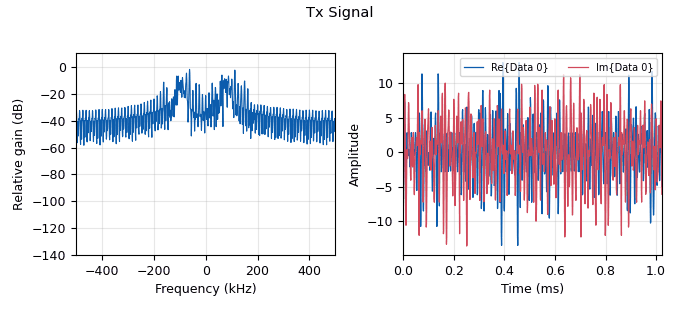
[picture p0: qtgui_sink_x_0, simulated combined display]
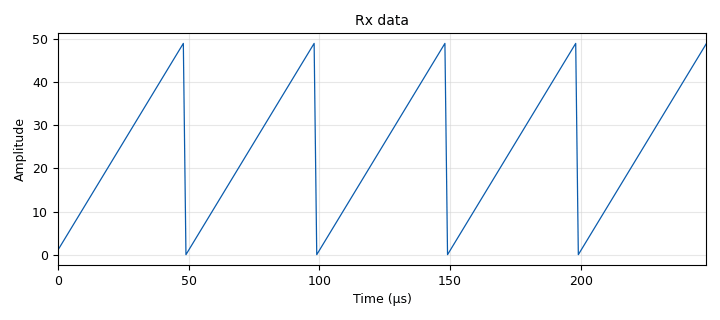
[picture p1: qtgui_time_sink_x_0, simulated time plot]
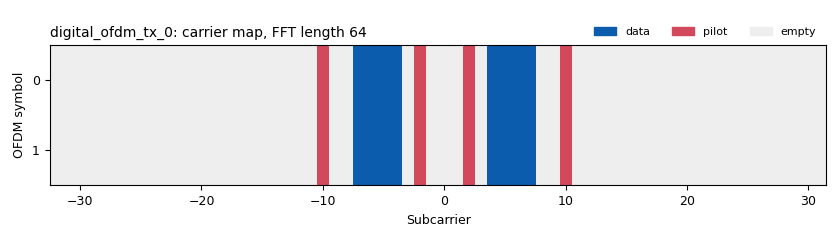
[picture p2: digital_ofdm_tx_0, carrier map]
options:
  parameters:
    author: ucanlab
    category: Custom
    description: Repeatedly transmit a pre-defined signal as OFDM packets.
    generate_options: qt_gui
    id: ofdm_loopback_sim
    output_language: python
    title: OFDM Loopback - Simulation
  states: {}

blocks:
- name: fft_len
  id: variable
  parameters:
    value: '64'
  states: {}
- name: freq_offset
  id: variable_qtgui_range
  parameters:
    gui_hint: 0,1,1,1
    label: 'SIM ONLY: Frequency Offset (Multiples of Sub-carrier spacing)'
    orient: Qt.Horizontal
    start: '-3'
    step: '.01'
    stop: '3'
    value: '0'
  states: {}
- name: len_tag_key
  id: variable
  parameters:
    value: '"packet_len"'
  states: {}
- name: noise_voltage
  id: variable_qtgui_range
  parameters:
    gui_hint: 0,0,1,1
    label: 'SIM ONLY: Noise Amplitude'
    orient: Qt.Horizontal
    start: '0'
    step: '.01'
    stop: '1'
    value: '0.02'
  states: {}
- name: occupied_carriers
  id: variable
  parameters:
    value: ((-7,-6,-5,-4,4,5,6,7),)
  states: {}
- name: packet_len
  id: variable
  parameters:
    value: '25'
  states: {}
- name: pilot_carriers
  id: variable
  parameters:
    value: ((-10,-2,2,10),)
  states: {}
- name: pilot_syms
  id: variable
  parameters:
    value: ((-1,1,-1,1),)
  states: {}
- name: samp_rate
  id: variable
  parameters:
    value: '1000000'
  states: {}
- name: blocks_stream_to_tagged_stream_0
  id: blocks_stream_to_tagged_stream
  parameters:
    len_tag_key: len_tag_key
    packet_len: packet_len
    type: byte
  states: {}
- name: blocks_tag_debug_0
  id: blocks_tag_debug
  parameters:
    display: 'False'
    name: Rx Packets
    type: byte
  states: {}
- name: blocks_throttle_0
  id: blocks_throttle
  parameters:
    samples_per_second: samp_rate
    type: complex
  states: {}
- name: blocks_uchar_to_float_0
  id: blocks_uchar_to_float
  parameters: {}
  states: {}
- name: blocks_vector_source_x_0
  id: blocks_vector_source_x
  parameters:
    repeat: 'True'
    tags: ()
    type: byte
    vector: range(2*packet_len)
  states: {}
- name: channels_channel_model_0
  id: channels_channel_model
  parameters:
    block_tags: 'True'
    epsilon: '1.0'
    freq_offset: freq_offset * 1.0/fft_len
    noise_voltage: noise_voltage
    seed: '0'
    taps: 1.0 + 1.0j
  states: {}
- name: digital_ofdm_rx_0
  id: digital_ofdm_rx
  parameters:
    cp_len: fft_len//4
    fft_len: fft_len
    header_mod: '"BPSK"'
    occupied_carriers: occupied_carriers
    packet_len_key: '"rx_len"'
    payload_mod: '"QPSK"'
    pilot_carriers: pilot_carriers
    pilot_symbols: ((-1,1,-1,1),)
    sync_word1: None
    sync_word2: None
  states: {}
- name: digital_ofdm_tx_0
  id: digital_ofdm_tx
  parameters:
    cp_len: fft_len//4
    fft_len: fft_len
    header_mod: '"BPSK"'
    occupied_carriers: occupied_carriers
    packet_len_key: len_tag_key
    payload_mod: '"QPSK"'
    pilot_carriers: pilot_carriers
    pilot_symbols: pilot_syms
    rolloff: '0'
    sync_word1: None
    sync_word2: None
  states: {}
- name: note_0_1
  id: note
  parameters:
    note: OFDM Params
  states: {}
- name: qtgui_sink_x_0
  id: qtgui_sink_x
  parameters:
    bw: samp_rate
    fc: '0'
    fftsize: '1024'
    gui_hint: 1,0,1,1
    name: '"Tx Signal"'
    plotconst: 'False'
    showrf: 'True'
    type: complex
    wintype: firdes.WIN_BLACKMAN_hARRIS
  states: {}
- name: qtgui_time_sink_x_0
  id: qtgui_time_sink_x
  parameters:
    autoscale: 'True'
    gui_hint: 1,1,1,1
    label1: ''
    name: Rx data
    size: packet_len*10 - 1
    srate: samp_rate
    type: float
  states: {}
- name: virtual_sink_0_0
  id: virtual_sink
  parameters:
    stream_id: RxSignal
  states: {}
- name: virtual_sink_0_0_0
  id: virtual_sink
  parameters:
    stream_id: TxSignal
  states: {}
- name: virtual_source_0
  id: virtual_source
  parameters:
    stream_id: RxSignal
  states: {}
- name: virtual_source_0_0
  id: virtual_source
  parameters:
    stream_id: TxSignal
  states: {}

connections:
- [blocks_stream_to_tagged_stream_0, '0', digital_ofdm_tx_0, '0']
- [blocks_throttle_0, '0', virtual_sink_0_0, '0']
- [blocks_uchar_to_float_0, '0', qtgui_time_sink_x_0, '0']
- [blocks_vector_source_x_0, '0', blocks_stream_to_tagged_stream_0, '0']
- [channels_channel_model_0, '0', blocks_throttle_0, '0']
- [digital_ofdm_rx_0, '0', blocks_tag_debug_0, '0']
- [digital_ofdm_rx_0, '0', blocks_uchar_to_float_0, '0']
- [digital_ofdm_tx_0, '0', qtgui_sink_x_0, '0']
- [digital_ofdm_tx_0, '0', virtual_sink_0_0_0, '0']
- [virtual_source_0, '0', digital_ofdm_rx_0, '0']
- [virtual_source_0_0, '0', channels_channel_model_0, '0']

metadata:
  file_format: 1
